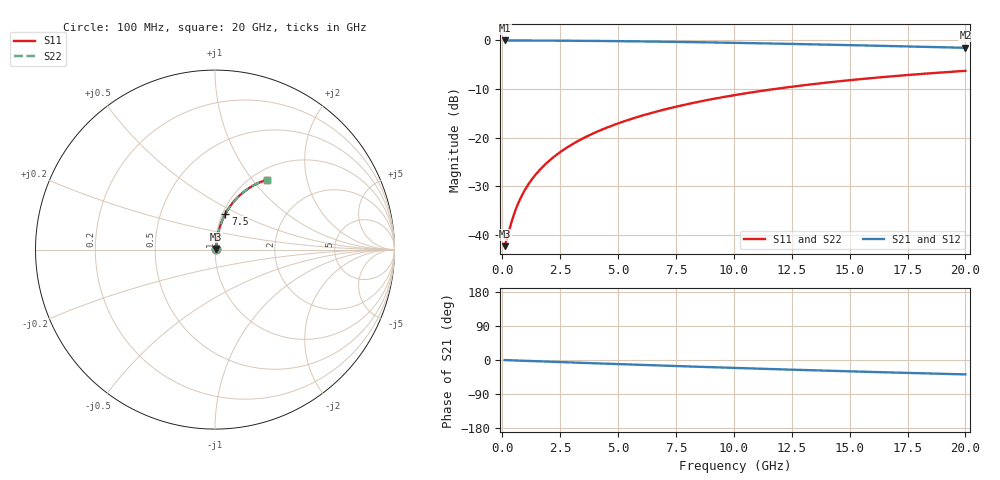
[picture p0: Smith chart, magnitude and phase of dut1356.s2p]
! Touchstone file exported from HFSS 2024.1.0
!  File:  C:/UserFiles/LocalFiles/RDL_TSV_Batchsim/temp_RDL_top_1356_1780366382.aedt
!  Generated:  10:15:24 AM Jun  2, 2026
!  Design:  RDL_top
!  Project:  temp_RDL_top_1356_1780366382
!  Setup:  Setup1
!  Solution:  Sweep
! Variables:
!  dtsv = 10.80580581um
!  hbump = 3um
!  htsv = 58.77um
!  ldown = 100um
!  lrdl = 411.13um
!  p = 40
!  p1 = 56.2um
!  rhole = 1um
!  t = 450um
!  tdown = 3.915915916um
!  trdl = 2.04um
!  wdown = 15.38538539um
!  wrdl = 10.15um
# GHz S MA R 50.000000
! Terminal data exported
! Port[1] = Box2_T1
! Port[2] = Box2_T2
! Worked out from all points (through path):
!   200 points, 100 MHz to 20 GHz, reference 50 ohm
!   highest |S21| = -0.06 dB at 100 MHz (marker M1); lowest = -1.6 dB at 20 GHz (marker M2)
!   group delay of S21, straight-line fit = 5.29 ps
!   lowest |S11| = -42.3 dB at 100 MHz (marker M3), VSWR 1.02, Z = 50.7 + j0.293 ohm
!   |S11| at or under -10 dB: start of sweep to 11.8 GHz
!   |S22| runs from -42.3 to -6.3 dB; largest |S21 - S12| = 2.4e-15
!   S11 on the Smith chart (normalised r, x): 100 MHz: 1.01, +0.01; 7.5 GHz: 1.03, +0.43; 20 GHz: 1.16, +1.18
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0.1  0.0077 22.0  0.9929 -0.2  0.9929 -0.2  0.0077 22.0
! Gamma 0 0 0 0
! Port Impedance 50 0 50 0
0.2  0.009217 38.7  0.9928 -0.4  0.9928 -0.4  0.009217 38.7
0.4  0.01367 57.3  0.9927 -0.9  0.9927 -0.9  0.01367 57.3
0.5  0.01621 62.3  0.9925 -1.1  0.9925 -1.1  0.01621 62.3
0.7  0.02152 68.5  0.9923 -1.6  0.9923 -1.6  0.02152 68.5
0.8  0.02423 70.5  0.9921 -1.8  0.9921 -1.8  0.02423 70.5
1  0.0297 73.3  0.9917 -2.2  0.9917 -2.2  0.0297 73.3
1.3  0.03794 75.8  0.9911 -2.9  0.9911 -2.9  0.03794 75.8
1.7  0.04896 77.5  0.9902 -3.8  0.9902 -3.8  0.04896 77.5
2.2  0.06276 78.5  0.9889 -4.8  0.9889 -4.8  0.06276 78.5
2.8  0.07933 78.9  0.9869 -6.1  0.9869 -6.1  0.07933 78.9
3.5  0.09867 78.8  0.9843 -7.6  0.9843 -7.6  0.09867 78.8
4.2  0.118 78.3  0.9811 -9.1  0.9811 -9.1  0.118 78.3
5  0.14 77.4  0.9769 -10.8  0.9769 -10.8  0.14 77.4
5.9  0.1645 76.2  0.9714 -12.7  0.9714 -12.7  0.1645 76.2
6.8  0.1888 74.9  0.9654 -14.5  0.9654 -14.5  0.1888 74.9
7.5  0.2075 73.8  0.9602 -15.9  0.9602 -15.9  0.2075 73.8
8.7  0.239 71.9  0.9506 -18.3  0.9506 -18.3  0.239 71.9
10.1  0.2746 69.5  0.9383 -21.1  0.9383 -21.1  0.2746 69.5
13.4  0.3533 63.9  0.906 -27.1  0.906 -27.1  0.3533 63.9
16.7  0.4233 58.5  0.8708 -32.8  0.8708 -32.8  0.4233 58.5
20  0.4842 53.5  0.8346 -38.0  0.8346 -38.0  0.4842 53.5
